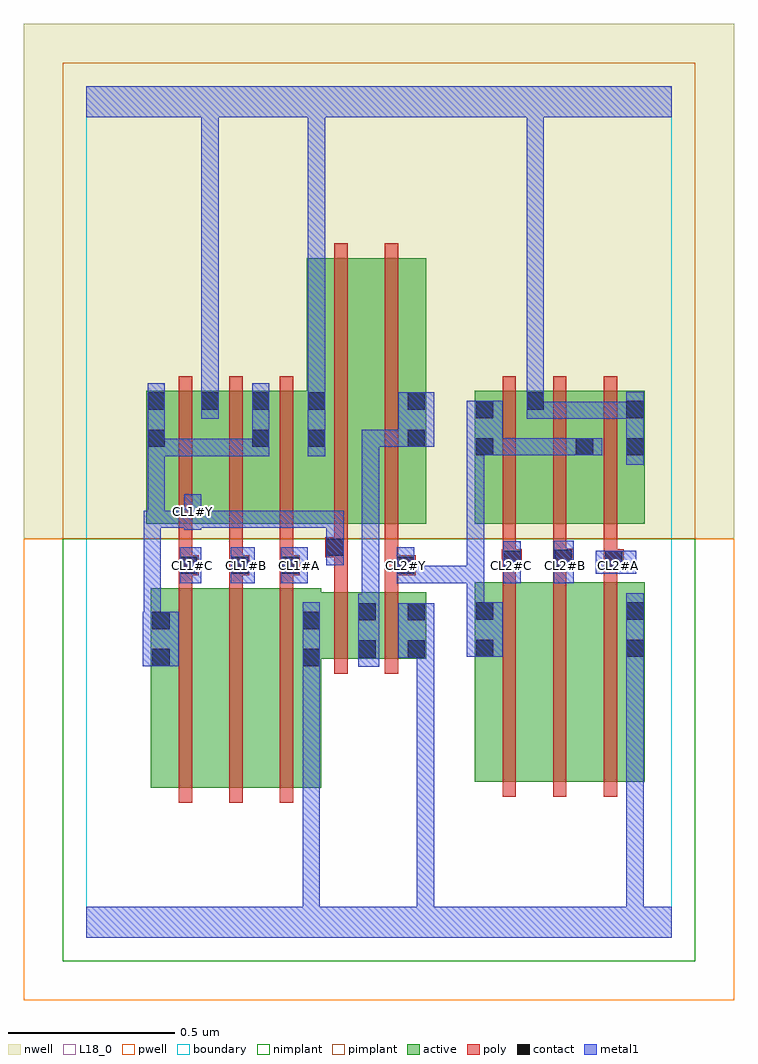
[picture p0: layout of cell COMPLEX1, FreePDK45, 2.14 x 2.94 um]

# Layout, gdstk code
import gdstk
lib = gdstk.Library(unit=1e-6, precision=1e-09)
def R(c, l, rs):  # rectangles x0, y0, x1, y1
    for r in rs: c.add(gdstk.rectangle(r[:2], r[2:], *l))
def A(c, l, x, y, w, h, nx, ny, dx, dy):  # array of equal rectangles
    R(c, l, [(x+i*dx, y+j*dy, x+i*dx+w, y+j*dy+h) for i in range(nx) for j in range(ny)])
active = (1, 0)
pwell = (2, 0)
nwell = (3, 0)
nimplant = (4, 0)
pimplant = (5, 0)
poly = (9, 0)
contact = (10, 0)
metal1 = (11, 0)
L18_0 = (18, 0)
boundary = (235, 0)

complex1 = lib.new_cell('COMPLEX1')
R(complex1, active, [(0.194,0.45,0.374,1.05), (0.374,0.45,0.526,1.05), (0.526,0.45,0.706,1.05), (0.646,0.45,0.706,0.984), (1.168,0.468,1.348,1.068), (1.348,0.468,1.5,1.068), (1.5,0.468,1.68,1.068), (0.194,0.556,0.254,1.05), (1.168,0.556,1.228,1.068), (1.62,0.556,1.68,1.068), (0.646,0.838,0.874,1.038), (0.814,0.838,1.022,1.038), (0.814,0.838,0.874,1.01), (0.962,0.838,1.022,1.038), (0.18,1.244,0.24,1.644), (0.18,1.244,0.402,1.644), (0.342,1.244,0.402,1.644), (0.342,1.244,0.554,1.644), (0.494,1.244,0.554,1.644), (0.494,1.244,0.722,1.644), (0.662,1.244,0.722,1.644), (0.662,1.244,0.842,2.044), (0.842,1.244,1.022,2.044), (0.962,1.244,1.022,2.044), (1.168,1.244,1.228,1.644), (1.168,1.244,1.38,1.644), (1.32,1.244,1.38,1.644), (1.32,1.244,1.528,1.644), (1.468,1.244,1.528,1.644), (1.468,1.244,1.68,1.644), (1.62,1.244,1.68,1.644)])
R(complex1, pwell, [(-0.188,-0.188,1.948,1.2)])
R(complex1, nwell, [(-0.188,1.2,1.948,2.748)])
R(complex1, nimplant, [(-0.072,-0.072,1.832,1.2)])
R(complex1, pimplant, [(-0.072,1.2,1.832,2.632)])
A(complex1, poly, 0.278, 0.406, 0.04, 0.688, 3, 1, 0.152, 0)
A(complex1, poly, 1.252, 0.424, 0.04, 0.688, 3, 1, 0.152, 0)
A(complex1, poly, 0.278, 1.054, 0.04, 0.076, 3, 1, 0.152, 0)
A(complex1, poly, 0.278, 1.09, 0.06, 0.06, 3, 1, 0.152, 0)
A(complex1, poly, 0.278, 1.11, 0.04, 0.13, 3, 1, 0.152, 0)
A(complex1, poly, 0.278, 1.2, 0.04, 0.488, 3, 1, 0.152, 0)
A(complex1, poly, 1.252, 1.2, 0.04, 0.488, 3, 1, 0.152, 0)
R(complex1, poly, [(0.746,0.794,0.786,1.082), (0.898,0.794,0.938,1.082), (0.746,1.042,0.786,1.184), (0.898,1.042,0.938,1.13), (1.252,1.072,1.292,1.148), (1.404,1.072,1.444,1.15), (1.556,1.072,1.596,1.148), (0.898,1.09,0.99,1.15), (1.25,1.108,1.31,1.168), (1.252,1.108,1.292,1.148), (1.252,1.108,1.292,1.148), (1.556,1.108,1.596,1.148), (1.556,1.108,1.596,1.148), (1.556,1.108,1.616,1.168), (0.278,1.11,0.318,1.15), (0.278,1.11,0.318,1.15), (0.43,1.11,0.47,1.15), (0.43,1.11,0.47,1.15), (0.582,1.11,0.622,1.15), (0.582,1.11,0.622,1.15), (0.898,1.11,0.938,1.15), (0.898,1.11,0.938,1.15), (0.898,1.11,0.938,1.24), (1.404,1.11,1.444,1.15), (1.404,1.11,1.444,1.15), (1.404,1.11,1.464,1.17), (1.252,1.128,1.292,1.24), (1.556,1.128,1.596,1.24), (1.404,1.13,1.444,1.24), (0.718,1.144,0.786,1.204), (0.746,1.144,0.786,1.184), (0.746,1.144,0.786,1.184), (0.746,1.164,0.786,1.24), (0.746,1.2,0.786,2.088), (0.898,1.2,0.938,2.088)])
A(complex1, contact, 0.282, 1.094, 0.052, 0.052, 3, 1, 0.152, 0)
R(complex1, contact, [(0.198,0.816,0.25,0.868), (0.65,0.816,0.702,0.868), (0.818,0.842,0.87,0.894), (0.966,0.842,1.018,0.894), (1.172,0.844,1.224,0.896), (1.624,0.844,1.676,0.896), (0.198,0.928,0.25,0.98), (0.65,0.928,0.702,0.98), (0.818,0.954,0.87,1.006), (0.966,0.954,1.018,1.006), (1.172,0.956,1.224,1.008), (1.624,0.956,1.676,1.008), (0.934,1.094,0.986,1.146), (1.254,1.112,1.306,1.164), (1.56,1.112,1.612,1.164), (1.408,1.114,1.46,1.166), (0.722,1.148,0.774,1.2), (1.172,1.45,1.224,1.502), (1.472,1.45,1.524,1.502), (1.624,1.45,1.676,1.502), (0.184,1.476,0.236,1.528), (0.498,1.476,0.55,1.528), (0.666,1.476,0.718,1.528), (0.966,1.476,1.018,1.528), (1.172,1.562,1.224,1.614), (1.624,1.562,1.676,1.614), (0.184,1.588,0.236,1.64), (0.346,1.588,0.398,1.64), (0.498,1.588,0.55,1.64), (0.666,1.588,0.718,1.64), (0.966,1.588,1.018,1.64), (1.324,1.588,1.376,1.64)])
R(complex1, metal1, [(0,0,1.76,0.092), (0.65,0.04,0.702,0.092), (0.65,0.04,0.702,0.092), (0.65,0.04,0.702,0.84), (0.994,0.04,1.046,0.092), (0.994,0.04,1.046,0.092), (0.994,0.04,1.046,0.092), (0.994,0.04,1.046,0.092), (0.994,0.04,1.046,0.092), (0.994,0.04,1.046,0.092), (0.994,0.04,1.046,0.092), (0.994,0.04,1.046,0.092), (0.994,0.04,1.046,0.092), (0.994,0.04,1.046,0.092), (0.994,0.04,1.046,0.894), (1.624,0.04,1.676,0.868), (0.65,0.788,0.702,0.84), (0.65,0.788,0.702,0.84), (0.65,0.788,0.702,0.84), (0.65,0.788,0.702,0.84), (0.65,0.788,0.702,0.84), (0.65,0.788,0.702,0.84), (0.65,0.788,0.702,1.008), (0.818,0.814,0.88,1.034), (0.17,0.816,0.278,0.98), (1.624,0.816,1.676,0.868), (1.624,0.816,1.676,0.868), (1.624,0.816,1.676,0.868), (1.624,0.816,1.676,0.868), (1.624,0.816,1.676,0.868), (1.624,0.816,1.676,0.868), (1.624,0.816,1.676,0.868), (1.624,0.816,1.676,0.868), (1.624,0.816,1.676,1.036), (0.938,0.842,1.046,1.006), (0.994,0.842,1.046,0.894), (0.994,0.842,1.046,0.894), (0.994,0.842,1.046,0.894), (0.994,0.842,1.046,0.894), (0.994,0.842,1.046,0.894), (0.994,0.842,1.046,0.894), (1.144,0.844,1.252,1.008), (0.172,0.928,0.224,0.98), (0.172,0.928,0.224,0.98), (0.172,0.928,0.224,1.284), (1.144,0.956,1.196,1.118), (0.828,0.982,0.88,1.528), (0.282,1.066,0.346,1.174), (0.434,1.066,0.506,1.174), (0.586,1.066,0.666,1.174), (0.934,1.066,0.986,1.174), (0.934,1.066,1.142,1.118), (1.09,1.066,1.142,1.118), (1.09,1.066,1.196,1.118), (1.144,1.066,1.196,1.118), (1.144,1.066,1.196,1.118), (1.144,1.066,1.196,1.118), (1.144,1.066,1.196,1.502), (1.254,1.066,1.306,1.192), (1.406,1.066,1.466,1.194), (1.532,1.094,1.654,1.164), (0.722,1.12,0.774,1.284), (0.294,1.226,0.346,1.334), (0.172,1.232,0.236,1.284), (0.184,1.232,0.236,1.284), (0.184,1.232,0.236,1.284), (0.184,1.232,0.346,1.284), (0.184,1.232,0.236,1.5), (0.294,1.232,0.346,1.284), (0.294,1.232,0.346,1.284), (0.294,1.232,0.554,1.284), (0.502,1.232,0.554,1.284), (0.502,1.232,0.664,1.284), (0.612,1.232,0.664,1.284), (0.612,1.232,0.664,1.284), (0.612,1.232,0.664,1.284), (0.612,1.232,0.774,1.284), (1.624,1.422,1.676,1.642), (0.184,1.448,0.236,1.5), (0.184,1.448,0.236,1.5), (0.184,1.448,0.236,1.668), (0.184,1.448,0.346,1.5), (0.294,1.448,0.346,1.5), (0.294,1.448,0.346,1.5), (0.294,1.448,0.346,1.5), (0.294,1.448,0.55,1.5), (0.498,1.448,0.55,1.668), (0.666,1.448,0.718,1.668), (1.144,1.45,1.252,1.614), (1.2,1.45,1.252,1.502), (1.2,1.45,1.252,1.502), (1.2,1.45,1.362,1.502), (1.31,1.45,1.362,1.502), (1.31,1.45,1.362,1.502), (1.31,1.45,1.362,1.502), (1.31,1.45,1.496,1.502), (1.444,1.45,1.552,1.502), (0.828,1.476,0.88,1.528), (0.828,1.476,0.88,1.528), (0.828,1.476,0.88,1.528), (0.828,1.476,0.88,1.528), (0.828,1.476,0.88,1.528), (0.828,1.476,0.99,1.528), (0.938,1.476,0.99,1.528), (0.938,1.476,0.99,1.528), (0.938,1.476,1.046,1.64), (0.346,1.56,0.398,1.668), (1.324,1.56,1.376,1.612), (1.324,1.56,1.376,1.612), (1.324,1.56,1.486,1.612), (1.324,1.56,1.376,1.668), (1.434,1.56,1.486,1.612), (1.434,1.56,1.676,1.612), (1.624,1.56,1.676,1.612), (1.624,1.56,1.676,1.612), (0.346,1.616,0.398,1.668), (0.346,1.616,0.398,1.668), (0.346,1.616,0.398,1.668), (0.346,1.616,0.398,1.668), (0.346,1.616,0.398,2.52), (0.666,1.616,0.718,1.668), (0.666,1.616,0.718,1.668), (0.666,1.616,0.718,2.52), (1.324,1.616,1.376,1.668), (1.324,1.616,1.376,1.668), (1.324,1.616,1.376,1.668), (1.324,1.616,1.376,1.668), (1.324,1.616,1.376,1.668), (1.324,1.616,1.376,1.668), (1.324,1.616,1.376,1.668), (1.324,1.616,1.376,1.668), (1.324,1.616,1.376,1.668), (1.324,1.616,1.376,1.668), (1.324,1.616,1.376,2.52), (0,2.468,1.76,2.56), (0.346,2.468,0.398,2.52), (0.346,2.468,0.398,2.52), (0.346,2.468,0.398,2.52), (0.346,2.468,0.398,2.52), (0.346,2.468,0.398,2.52), (0.346,2.468,0.398,2.52), (0.346,2.468,0.398,2.52), (0.346,2.468,0.398,2.52), (0.346,2.468,0.398,2.52), (0.346,2.468,0.398,2.52), (0.346,2.468,0.398,2.52), (0.346,2.468,0.398,2.52), (0.666,2.468,0.718,2.52), (0.666,2.468,0.718,2.52), (0.666,2.468,0.718,2.52), (0.666,2.468,0.718,2.52), (0.666,2.468,0.718,2.52), (0.666,2.468,0.718,2.52), (1.324,2.468,1.376,2.52), (1.324,2.468,1.376,2.52), (1.324,2.468,1.376,2.52), (1.324,2.468,1.376,2.52), (1.324,2.468,1.376,2.52), (1.324,2.468,1.376,2.52)])
A(complex1, L18_0, 0.294, 1.094, 0.052, 0.052, 3, 1, 0.16, 0)
A(complex1, L18_0, 1.254, 1.094, 0.052, 0.052, 3, 1, 0.16, 0)
R(complex1, L18_0, [(0,0,1.76,0.092), (0.65,0.04,0.702,0.092), (0.65,0.04,0.702,0.092), (0.65,0.04,0.702,0.84), (0.994,0.04,1.046,0.092), (0.994,0.04,1.046,0.092), (0.994,0.04,1.046,0.092), (0.994,0.04,1.046,0.092), (0.994,0.04,1.046,0.092), (0.994,0.04,1.046,0.092), (0.994,0.04,1.046,0.092), (0.994,0.04,1.046,0.092), (0.994,0.04,1.046,0.092), (0.994,0.04,1.046,0.092), (0.994,0.04,1.046,0.894), (1.624,0.04,1.676,0.868), (0.65,0.788,0.702,0.84), (0.65,0.788,0.702,0.84), (0.65,0.788,0.702,0.84), (0.65,0.788,0.702,0.84), (0.65,0.788,0.702,0.84), (0.65,0.788,0.702,0.84), (0.65,0.788,0.702,1.008), (0.17,0.816,0.278,0.98), (1.624,0.816,1.676,0.868), (1.624,0.816,1.676,0.868), (1.624,0.816,1.676,0.868), (1.624,0.816,1.676,0.868), (1.624,0.816,1.676,0.868), (1.624,0.816,1.676,0.868), (1.624,0.816,1.676,0.868), (1.624,0.816,1.676,0.868), (1.624,0.816,1.676,1.036), (0.938,0.842,1.046,1.006), (0.994,0.842,1.046,0.894), (0.994,0.842,1.046,0.894), (0.994,0.842,1.046,0.894), (0.994,0.842,1.046,0.894), (0.994,0.842,1.046,0.894), (0.994,0.842,1.046,0.894), (1.144,0.844,1.252,1.008), (0.172,0.928,0.224,0.98), (0.172,0.928,0.224,0.98), (0.172,0.928,0.224,1.284), (1.144,0.956,1.196,1.118), (0.282,1.066,0.346,1.174), (0.434,1.066,0.506,1.174), (0.586,1.066,0.666,1.174), (0.934,1.066,0.986,1.174), (0.934,1.066,1.142,1.118), (1.09,1.066,1.142,1.118), (1.09,1.066,1.196,1.118), (1.144,1.066,1.196,1.118), (1.144,1.066,1.196,1.118), (1.144,1.066,1.196,1.118), (1.144,1.066,1.196,1.502), (1.254,1.066,1.306,1.192), (1.406,1.066,1.466,1.194), (0.934,1.094,0.986,1.146), (1.532,1.094,1.654,1.164), (0.722,1.12,0.774,1.284), (0.294,1.226,0.346,1.334), (0.172,1.232,0.236,1.284), (0.184,1.232,0.236,1.284), (0.184,1.232,0.236,1.284), (0.184,1.232,0.236,1.5), (0.184,1.232,0.346,1.284), (0.294,1.232,0.346,1.284), (0.294,1.232,0.346,1.284), (0.294,1.232,0.554,1.284), (0.502,1.232,0.554,1.284), (0.502,1.232,0.664,1.284), (0.612,1.232,0.664,1.284), (0.612,1.232,0.664,1.284), (0.612,1.232,0.664,1.284), (0.612,1.232,0.774,1.284), (0.294,1.254,0.346,1.306), (1.624,1.422,1.676,1.642), (0.184,1.448,0.236,1.5), (0.184,1.448,0.236,1.5), (0.184,1.448,0.236,1.668), (0.184,1.448,0.346,1.5), (0.294,1.448,0.346,1.5), (0.294,1.448,0.346,1.5), (0.294,1.448,0.346,1.5), (0.294,1.448,0.55,1.5), (0.498,1.448,0.55,1.668), (0.666,1.448,0.718,1.668), (1.144,1.45,1.252,1.614), (1.2,1.45,1.252,1.502), (1.2,1.45,1.252,1.502), (1.2,1.45,1.362,1.502), (1.31,1.45,1.362,1.502), (1.31,1.45,1.362,1.502), (1.31,1.45,1.362,1.502), (1.31,1.45,1.496,1.502), (1.444,1.45,1.552,1.502), (0.346,1.56,0.398,1.668), (1.324,1.56,1.376,1.612), (1.324,1.56,1.376,1.612), (1.324,1.56,1.376,1.668), (1.324,1.56,1.486,1.612), (1.434,1.56,1.486,1.612), (1.434,1.56,1.676,1.612), (1.624,1.56,1.676,1.612), (1.624,1.56,1.676,1.612), (0.346,1.616,0.398,1.668), (0.346,1.616,0.398,1.668), (0.346,1.616,0.398,1.668), (0.346,1.616,0.398,1.668), (0.346,1.616,0.398,2.52), (0.666,1.616,0.718,1.668), (0.666,1.616,0.718,1.668), (0.666,1.616,0.718,2.52), (1.324,1.616,1.376,1.668), (1.324,1.616,1.376,1.668), (1.324,1.616,1.376,1.668), (1.324,1.616,1.376,1.668), (1.324,1.616,1.376,1.668), (1.324,1.616,1.376,1.668), (1.324,1.616,1.376,1.668), (1.324,1.616,1.376,1.668), (1.324,1.616,1.376,1.668), (1.324,1.616,1.376,1.668), (1.324,1.616,1.376,2.52), (0,2.468,1.76,2.56), (0.346,2.468,0.398,2.52), (0.346,2.468,0.398,2.52), (0.346,2.468,0.398,2.52), (0.346,2.468,0.398,2.52), (0.346,2.468,0.398,2.52), (0.346,2.468,0.398,2.52), (0.346,2.468,0.398,2.52), (0.346,2.468,0.398,2.52), (0.346,2.468,0.398,2.52), (0.346,2.468,0.398,2.52), (0.346,2.468,0.398,2.52), (0.346,2.468,0.398,2.52), (0.666,2.468,0.718,2.52), (0.666,2.468,0.718,2.52), (0.666,2.468,0.718,2.52), (0.666,2.468,0.718,2.52), (0.666,2.468,0.718,2.52), (0.666,2.468,0.718,2.52), (1.324,2.468,1.376,2.52), (1.324,2.468,1.376,2.52), (1.324,2.468,1.376,2.52), (1.324,2.468,1.376,2.52), (1.324,2.468,1.376,2.52), (1.324,2.468,1.376,2.52)])
R(complex1, boundary, [(0,0,1.76,2.56)])
complex1.add(gdstk.Label('CL1#A', (0.64,1.12), layer=11, texttype=0))
complex1.add(gdstk.Label('CL1#B', (0.48,1.12), layer=11, texttype=0))
complex1.add(gdstk.Label('CL1#C', (0.32,1.12), layer=11, texttype=0))
complex1.add(gdstk.Label('CL1#Y', (0.32,1.28), layer=11, texttype=0))
complex1.add(gdstk.Label('CL2#A', (1.6,1.12), layer=11, texttype=0))
complex1.add(gdstk.Label('CL2#B', (1.44,1.12), layer=11, texttype=0))
complex1.add(gdstk.Label('CL2#C', (1.28,1.12), layer=11, texttype=0))
complex1.add(gdstk.Label('CL2#Y', (0.96,1.12), layer=11, texttype=0))

lib.write_gds('COMPLEX1.gds')
